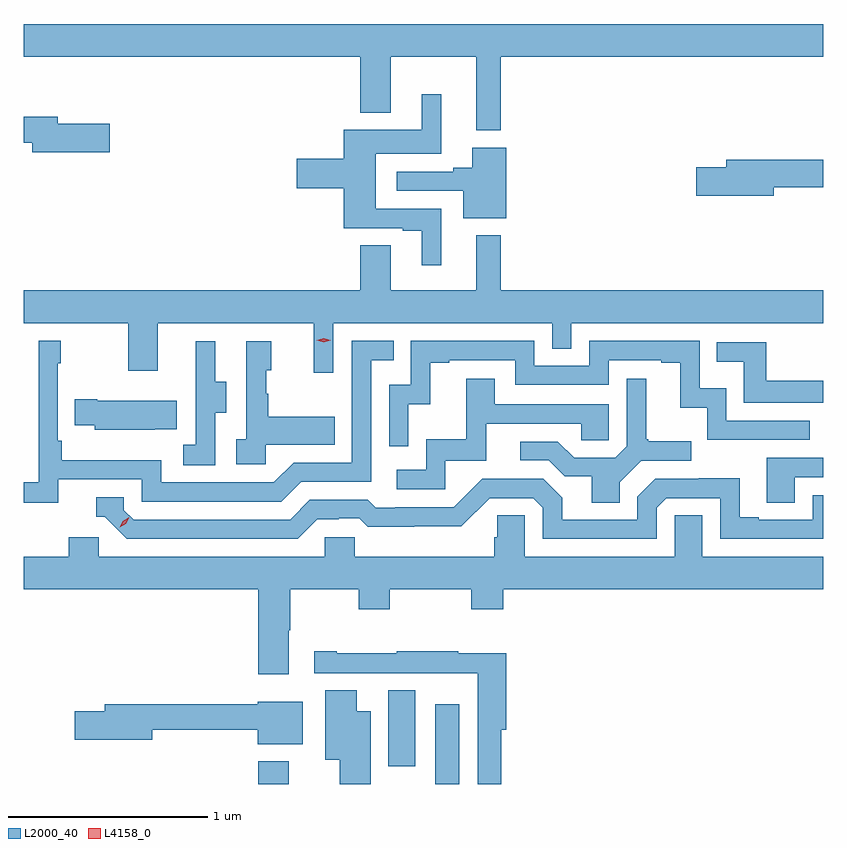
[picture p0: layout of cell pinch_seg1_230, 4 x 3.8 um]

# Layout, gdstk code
import gdstk
lib = gdstk.Library(unit=1e-6, precision=1e-09)
def R(c, l, rs):  # rectangles x0, y0, x1, y1
    for r in rs: c.add(gdstk.rectangle(r[:2], r[2:], *l))
def P(c, l, *ps):  # polygons
    for p in ps: c.add(gdstk.Polygon(p, *l))
L2000_40 = (2000, 40)
L4158_0 = (4158, 0)

pinch_seg1_230 = lib.new_cell('pinch_seg1_230')
R(pinch_seg1_230, L2000_40, [(936.371,561.415,936.523,561.529), (937.256,561.415,937.378,561.814), (937.022,561.504,937.156,561.884)])
P(pinch_seg1_230, L2000_40, [(937.585,565.052),(939.198,565.052),(939.198,565.216),(935.198,565.216),(935.198,565.052),(936.881,565.052),(936.881,564.773),(937.033,564.773),(937.033,565.052),(937.463,565.052),(937.463,564.684),(937.585,564.684)],
  [(937.288,564.291),(936.958,564.291),(936.958,564.566),(937.288,564.566),(937.288,564.865),(937.19,564.865),(937.19,564.688),(936.8,564.688),(936.8,564.542),(936.564,564.542),(936.564,564.395),(936.8,564.395),(936.8,564.195),(937.094,564.195),(937.094,564.183),(937.19,564.183),(937.19,564.009),(937.288,564.009)],
  [(935.629,564.717),(935.368,564.717),(935.368,564.751),(935.198,564.751),(935.198,564.622),(935.24,564.622),(935.24,564.575),(935.629,564.575)],
  [(937.613,564.598),(937.442,564.598),(937.442,564.497),(937.346,564.497),(937.346,564.477),(937.065,564.477),(937.065,564.381),(937.397,564.381),(937.397,564.245),(937.613,564.245)],
  [(938.95,564.4),(939.198,564.4),(939.198,564.536),(938.711,564.536),(938.711,564.5),(938.562,564.5),(938.562,564.358),(938.95,564.358)],
  [(936.747,563.72),(937.842,563.72),(937.842,563.593),(937.938,563.593),(937.938,563.72),(939.198,563.72),(939.198,563.884),(937.585,563.884),(937.585,564.16),(937.463,564.16),(937.463,563.884),(937.033,563.884),(937.033,564.11),(936.881,564.11),(936.881,563.884),(935.198,563.884),(935.198,563.72),(935.722,563.72),(935.722,563.481),(935.869,563.481),(935.869,563.72),(936.65,563.72),(936.65,563.472),(936.747,563.472)],
  [(935.372,562.938),(935.79,562.938),(935.79,562.827),(936.487,562.827),(936.586,562.926),(936.936,562.926),(936.936,563.535),(937.049,563.535),(937.049,563.631),(936.84,563.631),(936.84,563.022),(936.549,563.022),(936.45,562.923),(935.886,562.923),(935.886,563.035),(935.39,563.035),(935.39,563.131),(935.37,563.131),(935.37,563.519),(935.383,563.519),(935.383,563.632),(935.274,563.632),(935.274,562.924),(935.198,562.924),(935.198,562.822),(935.372,562.822)],
  [(937.122,563.315),(937.232,563.315),(937.232,563.523),(937.327,563.523),(937.327,563.535),(937.656,563.535),(937.656,563.412),(938.124,563.412),(938.124,563.535),(938.387,563.535),(938.387,563.523),(938.483,563.523),(938.483,563.297),(938.616,563.297),(938.616,563.136),(939.131,563.136),(939.131,563.232),(938.712,563.232),(938.712,563.395),(938.58,563.395),(938.58,563.631),(938.028,563.631),(938.028,563.508),(937.752,563.508),(937.752,563.631),(937.134,563.631),(937.134,563.412),(937.026,563.412),(937.026,563.103),(937.122,563.103)],
  [(936.156,563.272),(936.211,563.272),(936.211,563.427),(936.157,563.427),(936.157,563.629),(936.059,563.629),(936.059,563.415),(936.06,563.415),(936.06,563.111),(935.997,563.111),(935.997,563.008),(936.156,563.008)],
  [(936.408,563.111),(936.755,563.111),(936.755,563.251),(936.421,563.251),(936.421,563.366),(936.411,563.366),(936.411,563.484),(936.436,563.484),(936.436,563.629),(936.312,563.629),(936.312,563.138),(936.261,563.138),(936.261,563.013),(936.408,563.013)],
  [(939.198,563.431),(938.911,563.431),(938.911,563.625),(938.665,563.625),(938.665,563.528),(938.8,563.528),(938.8,563.322),(939.198,563.322)],
  [(937.308,563.031),(937.513,563.031),(937.513,563.217),(937.987,563.217),(937.987,563.133),(938.124,563.133),(938.124,563.313),(937.555,563.313),(937.555,563.443),(937.411,563.443),(937.411,563.14),(937.212,563.14),(937.212,562.986),(937.065,562.986),(937.065,562.89),(937.308,562.89)],
  [(938.179,562.924),(938.286,563.031),(938.536,563.031),(938.536,563.128),(938.323,563.128),(938.323,563.14),(938.311,563.14),(938.311,563.443),(938.214,563.443),(938.214,563.103),(938.157,563.046),(937.951,563.046),(937.87,563.127),(937.683,563.127),(937.683,563.034),(937.824,563.034),(937.904,562.954),(938.039,562.954),(938.039,562.822),(938.179,562.822)],
  [(935.855,563.189),(935.963,563.189),(935.963,563.332),(935.566,563.332),(935.566,563.34),(935.455,563.34),(935.455,563.21),(935.553,563.21),(935.553,563.186),(935.855,563.186)],
  [(939.055,562.95),(939.198,562.95),(939.198,563.046),(938.915,563.046),(938.915,562.822),(939.055,562.822)],
  [(936.667,562.74),(936.774,562.74),(936.774,562.743),(936.877,562.743),(936.919,562.701),(937.152,562.701),(937.152,562.703),(937.388,562.703),(937.53,562.845),(937.746,562.845),(937.794,562.797),(937.794,562.641),(938.364,562.641),(938.364,562.797),(938.412,562.845),(938.682,562.845),(938.682,562.641),(939.198,562.641),(939.198,562.86),(939.144,562.86),(939.144,562.737),(938.875,562.737),(938.875,562.75),(938.779,562.75),(938.779,562.943),(938.574,562.943),(938.574,562.941),(938.358,562.941),(938.268,562.851),(938.268,562.737),(937.891,562.737),(937.891,562.847),(937.797,562.941),(937.491,562.941),(937.35,562.8),(937.057,562.8),(937.057,562.797),(936.958,562.797),(936.919,562.836),(936.63,562.836),(936.531,562.737),(935.748,562.737),(935.7,562.785),(935.7,562.848),(935.561,562.848),(935.561,562.752),(935.604,562.752),(935.715,562.641),(936.568,562.641)],
  [(936.523,562.184),(936.531,562.184),(936.531,562.388),(936.874,562.388),(936.874,562.289),(937.029,562.289),(937.029,562.388),(937.438,562.388),(937.438,562.289),(937.598,562.289),(937.598,562.388),(939.198,562.388),(939.198,562.552),(938.593,562.552),(938.593,562.76),(938.454,562.76),(938.454,562.552),(937.704,562.552),(937.704,562.76),(937.567,562.76),(937.567,562.65),(937.553,562.65),(937.553,562.552),(936.855,562.552),(936.855,562.65),(936.705,562.65),(936.705,562.552),(935.574,562.552),(935.574,562.65),(935.423,562.65),(935.423,562.552),(935.198,562.552),(935.198,562.388),(936.371,562.388),(936.371,561.963),(936.523,561.963)],
  [(937.586,561.686),(937.613,561.686),(937.613,562.068),(937.373,562.068),(937.373,562.078),(937.063,562.078),(937.063,562.068),(936.763,562.068),(936.763,562.078),(936.651,562.078),(936.651,561.969),(937.26,561.969),(937.26,561.968),(937.47,561.968),(937.47,561.415),(937.586,561.415)],
  [(936.934,561.778),(936.865,561.778),(936.865,561.884),(936.707,561.884),(936.707,561.536),(936.779,561.536),(936.779,561.415),(936.934,561.415)],
  [(936.595,561.826),(936.368,561.826),(936.368,561.815),(935.603,561.815),(935.603,561.779),(935.454,561.779),(935.454,561.637),(935.842,561.637),(935.842,561.687),(936.368,561.687),(936.368,561.614),(936.595,561.614)])
P(pinch_seg1_230, L4158_0, [(936.7,563.625),(936.664,563.634),(936.664,563.635),(936.664,563.635),(936.7,563.645),(936.735,563.635),(936.735,563.635),(936.735,563.635)],
  [(935.678,562.698),(935.678,562.698),(935.695,562.73),(935.726,562.749),(935.726,562.749),(935.726,562.749),(935.71,562.717),(935.679,562.698)])

lib.write_gds('pinch_seg1_230.gds')
